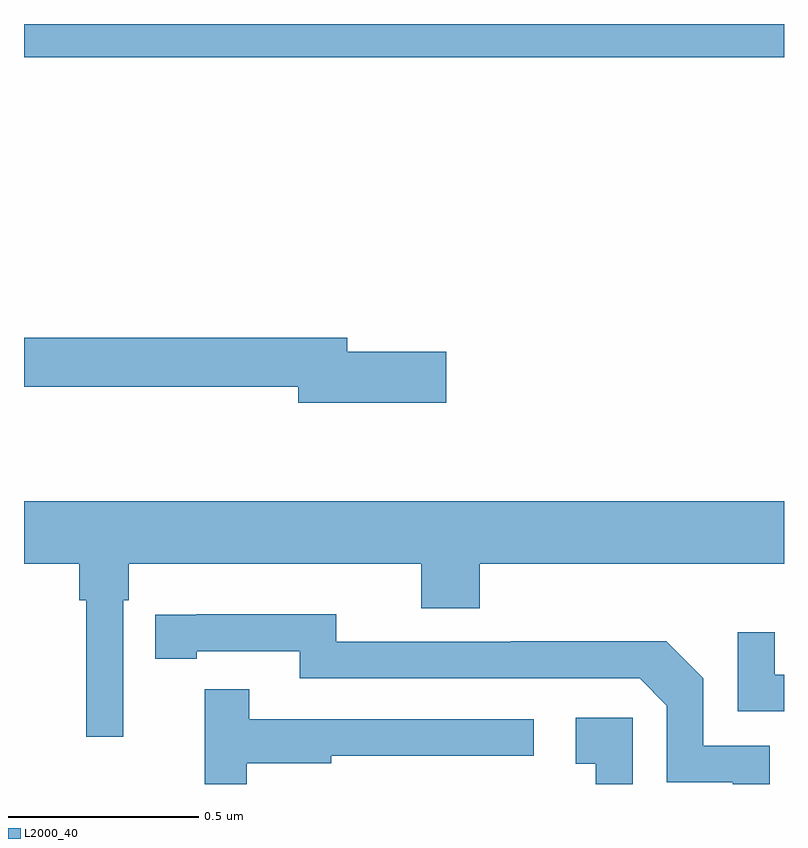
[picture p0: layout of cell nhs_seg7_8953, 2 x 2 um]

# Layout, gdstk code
import gdstk
lib = gdstk.Library(unit=1e-6, precision=1e-09)
def R(c, l, rs):  # rectangles x0, y0, x1, y1
    for r in rs: c.add(gdstk.rectangle(r[:2], r[2:], *l))
def P(c, l, *ps):  # polygons
    for p in ps: c.add(gdstk.Polygon(p, *l))
L2000_40 = (2000, 40)

nhs_seg7_8953 = lib.new_cell('nhs_seg7_8953')
R(nhs_seg7_8953, L2000_40, [(231,1037.912,233,1038)])
P(nhs_seg7_8953, L2000_40, [(232.111,1037.138),(231.85,1037.138),(231.85,1037.174),(231,1037.174),(231,1037.046),(231.722,1037.046),(231.722,1037.003),(232.111,1037.003)],
  [(231.261,1036.484),(231.275,1036.484),(231.275,1036.58),(232.046,1036.58),(232.046,1036.463),(232.199,1036.463),(232.199,1036.58),(233,1036.58),(233,1036.744),(231,1036.744),(231,1036.58),(231.145,1036.58),(231.145,1036.484),(231.164,1036.484),(231.164,1036.125),(231.261,1036.125)],
  [(232.962,1036.101),(232.788,1036.101),(232.788,1036.278),(232.69,1036.376),(232.282,1036.376),(232.282,1036.374),(231.822,1036.374),(231.822,1036.447),(231.454,1036.447),(231.454,1036.446),(231.346,1036.446),(231.346,1036.33),(231.454,1036.33),(231.454,1036.35),(231.726,1036.35),(231.726,1036.278),(232.62,1036.278),(232.692,1036.206),(232.692,1036.005),(232.865,1036.005),(232.865,1036),(232.962,1036)],
  [(233,1036.287),(232.975,1036.287),(232.975,1036.399),(232.878,1036.399),(232.878,1036.191),(233,1036.191)],
  [(231.586,1036.054),(231.809,1036.054),(231.809,1036.074),(232.342,1036.074),(232.342,1036.17),(231.593,1036.17),(231.593,1036.249),(231.476,1036.249),(231.476,1036),(231.586,1036)],
  [(232.602,1036.174),(232.452,1036.174),(232.452,1036.053),(232.505,1036.053),(232.505,1036),(232.602,1036)])

lib.write_gds('nhs_seg7_8953.gds')
